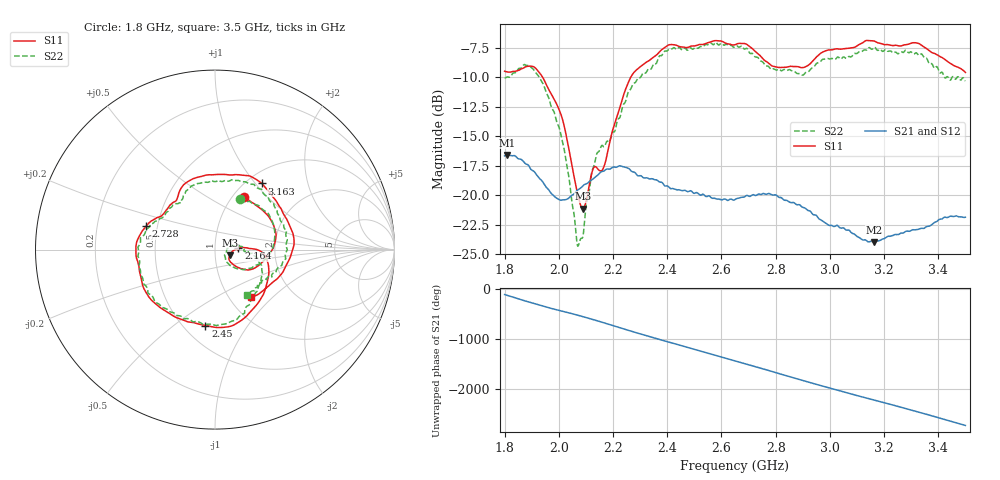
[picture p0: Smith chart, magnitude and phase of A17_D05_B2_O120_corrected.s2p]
! Created with skrf 1.9.0 (http://scikit-rf.org).
# Hz S RI R 50.0
!freq ReS11 ImS11 ReS21 ImS21 ReS12 ImS12 ReS22 ImS22
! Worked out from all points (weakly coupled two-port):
!   1601 points, 1.8 GHz to 3.5 GHz, reference 50 ohm
!   highest |S21| = -16.60 dB at 1.811 GHz (marker M1); lowest = -24.0 dB at 3.163 GHz (marker M2)
!   lowest |S11| = -21.1 dB at 2.09 GHz (marker M3), VSWR 1.19, Z = 58.8 - j3.72 ohm
!   |S11| at or under -10 dB: 1.941 GHz to 2.265 GHz (324.3 MHz wide, 15.4 % of centre)
!   |S22| runs from -24.3 to -7.0 dB; largest |S21 - S12| = 0.0026
!   S11 on the Smith chart (normalised r, x): 1.8 GHz: 1.13, +0.75; 2.164 GHz: 1.30, +0.02; 2.45 GHz: 0.63, -0.66; 2.728 GHz: 0.43, +0.14; 3.163 GHz: 1.17, +1.08; 3.5 GHz: 1.26, -0.75
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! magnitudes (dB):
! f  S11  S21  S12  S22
! 1.8 GHz  -9.5  -16.7  -16.7  -10.1
! 1.811 GHz  -9.5  -16.6  -16.6  -10.0
! 1.88 GHz  -9.1  -17.4  -17.4  -9.0
! 1.941 GHz  -10.0  -18.9  -18.9  -10.5
! 2.011 GHz  -13.4  -20.4  -20.4  -15.3
! 2.067 GHz  -19.6  -19.6  -19.6  -24.0
! 2.084 GHz  -21.0  -19.3  -19.3  -23.7
! 2.09 GHz  -21.1  -19.2  -19.2  -23.4
! 2.127 GHz  -17.7  -18.6  -18.6  -17.6
! 2.164 GHz  -17.7  -18.0  -17.9  -15.9
! 2.262 GHz  -10.1  -17.8  -17.8  -11.1
! 2.367 GHz  -7.9  -18.8  -18.8  -8.3
! 2.45 GHz  -7.4  -19.6  -19.6  -7.6
! 2.65 GHz  -7.2  -20.4  -20.4  -7.4
! 2.728 GHz  -7.8  -20.0  -20.0  -8.3
! 2.805 GHz  -9.1  -20.1  -20.1  -9.4
! 2.934 GHz  -8.7  -21.5  -21.5  -9.2
! 3.163 GHz  -6.9  -24.0  -23.9  -7.4
! 3.217 GHz  -7.2  -23.5  -23.5  -7.8
! 3.326 GHz  -7.1  -22.9  -22.9  -8.1
! 3.429 GHz  -8.6  -21.9  -21.9  -10.0
! 3.5 GHz  -9.6  -21.9  -21.9  -10.3
